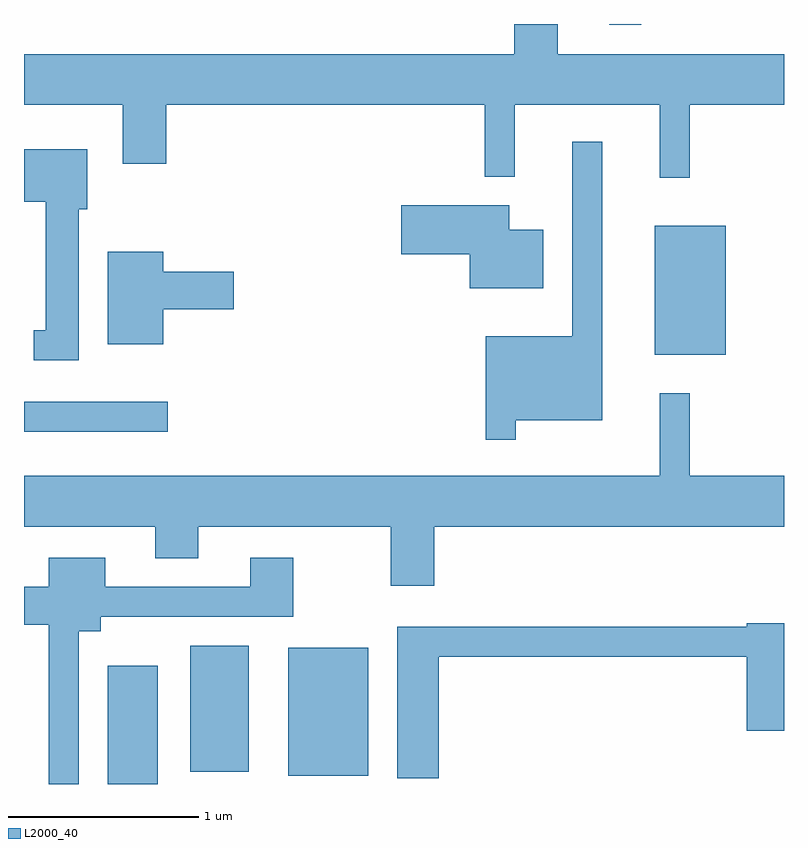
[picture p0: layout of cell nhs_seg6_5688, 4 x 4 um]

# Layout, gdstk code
import gdstk
lib = gdstk.Library(unit=1e-6, precision=1e-09)
def R(c, l, rs):  # rectangles x0, y0, x1, y1
    for r in rs: c.add(gdstk.rectangle(r[:2], r[2:], *l))
def P(c, l, *ps):  # polygons
    for p in ps: c.add(gdstk.Polygon(p, *l))
L2000_40 = (2000, 40)

nhs_seg6_5688 = lib.new_cell('nhs_seg6_5688')
R(nhs_seg6_5688, L2000_40, [(358.051,1624.162,358.314,1624.784), (359.001,1624.206,359.424,1624.879), (358.486,1624.226,358.794,1624.889), (357.611,1626.016,358.368,1626.174), (360.931,1626.421,361.304,1627.099), (360.691,1628.158,360.859,1628.162)])
P(nhs_seg6_5688, L2000_40, [(361.114,1627.736),(361.611,1627.736),(361.611,1628.004),(360.419,1628.004),(360.419,1628.162),(360.191,1628.162),(360.191,1628.004),(357.611,1628.004),(357.611,1627.736),(358.131,1627.736),(358.131,1627.426),(358.359,1627.426),(358.359,1627.736),(360.036,1627.736),(360.036,1627.358),(360.194,1627.358),(360.194,1627.736),(360.956,1627.736),(360.956,1627.353),(361.114,1627.353)],
  [(360.199,1626.076),(360.654,1626.076),(360.654,1627.543),(360.496,1627.543),(360.496,1626.519),(360.041,1626.519),(360.041,1625.973),(360.199,1625.973)],
  [(357.899,1627.186),(357.944,1627.186),(357.944,1627.504),(357.611,1627.504),(357.611,1627.226),(357.726,1627.226),(357.726,1626.549),(357.663,1626.549),(357.663,1626.391),(357.899,1626.391)],
  [(360.344,1627.079),(360.164,1627.079),(360.164,1627.209),(359.596,1627.209),(359.596,1626.951),(359.956,1626.951),(359.956,1626.771),(360.344,1626.771)],
  [(358.344,1626.661),(358.714,1626.661),(358.714,1626.859),(358.344,1626.859),(358.344,1626.964),(358.051,1626.964),(358.051,1626.476),(358.344,1626.476)],
  [(359.769,1625.516),(361.611,1625.516),(361.611,1625.784),(361.114,1625.784),(361.114,1626.218),(360.956,1626.218),(360.956,1625.784),(357.611,1625.784),(357.611,1625.516),(358.301,1625.516),(358.301,1625.351),(358.529,1625.351),(358.529,1625.516),(359.541,1625.516),(359.541,1625.206),(359.769,1625.206)],
  [(357.899,1624.966),(358.014,1624.966),(358.014,1625.041),(359.029,1625.041),(359.029,1625.354),(358.801,1625.354),(358.801,1625.199),(358.039,1625.199),(358.039,1625.354),(357.741,1625.354),(357.741,1625.199),(357.611,1625.199),(357.611,1625.001),(357.741,1625.001),(357.741,1624.162),(357.899,1624.162)],
  [(359.794,1624.831),(361.416,1624.831),(361.416,1624.441),(361.611,1624.441),(361.611,1625.009),(361.416,1625.009),(361.416,1624.989),(359.576,1624.989),(359.576,1624.191),(359.794,1624.191)])

lib.write_gds('nhs_seg6_5688.gds')
